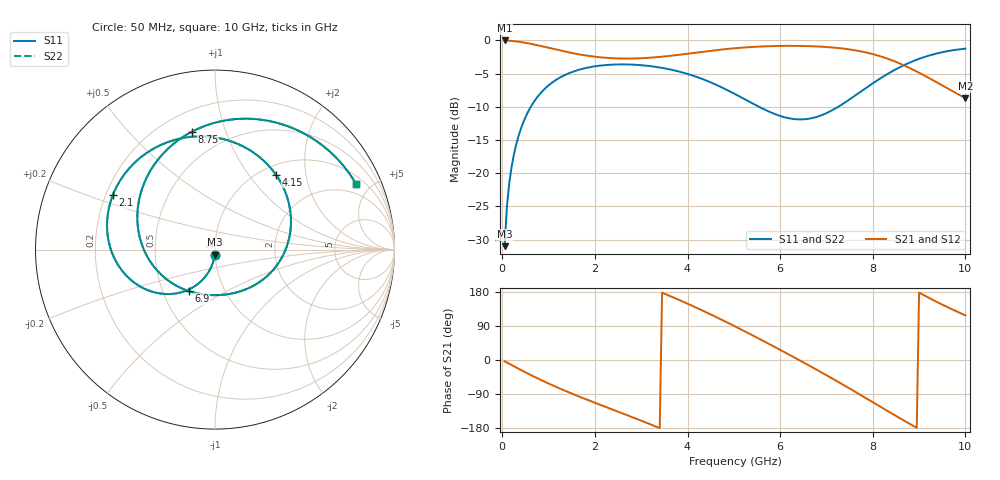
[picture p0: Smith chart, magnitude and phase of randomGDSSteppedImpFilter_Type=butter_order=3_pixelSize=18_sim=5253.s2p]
! freq	dB(S11)	phase(S11)	dB(S12)	phase(S12)
!  dB(S21)	phase(S21)	dB(S22)	phase(S22)
!S-par simulation data
#  GHz  S  DB  R 50
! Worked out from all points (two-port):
!   200 points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, 50 MHz to 10 GHz, reference 50 ohm
!   highest |S21| = -0.01 dB at 50 MHz (marker M1); lowest = -8.7 dB at 10 GHz (marker M2)
!   |S21| within 3 dB of the highest: start of sweep to 8.419 GHz
!   lowest |S11| = -31.0 dB at 50 MHz (marker M3), VSWR 1.06, Z = 49.8 - j2.81 ohm
!   |S11| at or under -10 dB: start of sweep to 616.3 MHz; 5.544 GHz to 7.253 GHz (1.709 GHz wide, 26.7 % of centre)
!   |S22| runs from -31.0 to -1.2 dB; largest |S21 - S12| = 0
!   S11 on the Smith chart (normalised r, x): 50 MHz: 1.00, -0.06; 2.1 GHz: 0.23, +0.24; 4.15 GHz: 1.16, +1.37; 6.9 GHz: 0.68, -0.34; 8.75 GHz: 0.32, +0.77; 10 GHz: 1.38, +4.07
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0.05  -30.99 -93.4  -0.01 -3.4  -0.01 -3.4  -30.99 -93.4
0.1  -25.00 -96.9  -0.03 -6.7  -0.03 -6.7  -25.00 -96.9
0.2  -19.08 -103.6  -0.08 -13.3  -0.08 -13.3  -19.08 -103.6
0.5  -11.57 -123.0  -0.36 -32.5  -0.36 -32.5  -11.57 -123.0
1.05  -6.49 -155.4  -1.20 -64.9  -1.20 -64.9  -6.49 -155.4
1.75  -4.25 168.6  -2.21 -100.9  -2.21 -100.9  -4.25 168.6
2.1  -3.81 152.0  -2.53 -117.6  -2.53 -117.6  -3.81 152.0
2.8  -3.64 119.2  -2.73 -150.5  -2.73 -150.5  -3.64 119.2
3.4  -4.08 90.1  -2.49 -179.8  -2.49 -179.8  -4.08 90.1
4.15  -5.38 50.9  -1.88 140.3  -1.88 140.3  -5.38 50.9
5.05  -8.17 -1.1  -1.17 87.2  -1.17 87.2  -8.17 -1.1
5.5  -9.84 -28.6  -0.95 59.0  -0.95 59.0  -9.84 -28.7
6  -11.38 -60.5  -0.83 26.8  -0.83 26.8  -11.38 -60.5
6.35  -11.88 -83.8  -0.83 3.8  -0.83 3.8  -11.88 -83.9
6.7  -11.69 -108.2  -0.88 -19.6  -0.88 -19.6  -11.69 -108.3
6.9  -11.25 -122.5  -0.95 -33.3  -0.95 -33.3  -11.25 -122.6
7.6  -8.40 -174.3  -1.47 -82.4  -1.47 -82.4  -8.40 -174.4
7.95  -6.70 159.4  -1.97 -107.8  -1.97 -107.8  -6.70 159.3
8.35  -4.93 129.7  -2.83 -136.8  -2.83 -136.8  -4.93 129.6
8.75  -3.48 101.1  -4.00 -165.2  -4.00 -165.2  -3.48 101.0
9.3  -2.11 64.9  -6.00 158.4  -6.00 158.4  -2.11 64.8
10  -1.24 25.0  -8.72 117.8  -8.72 117.8  -1.24 24.9
